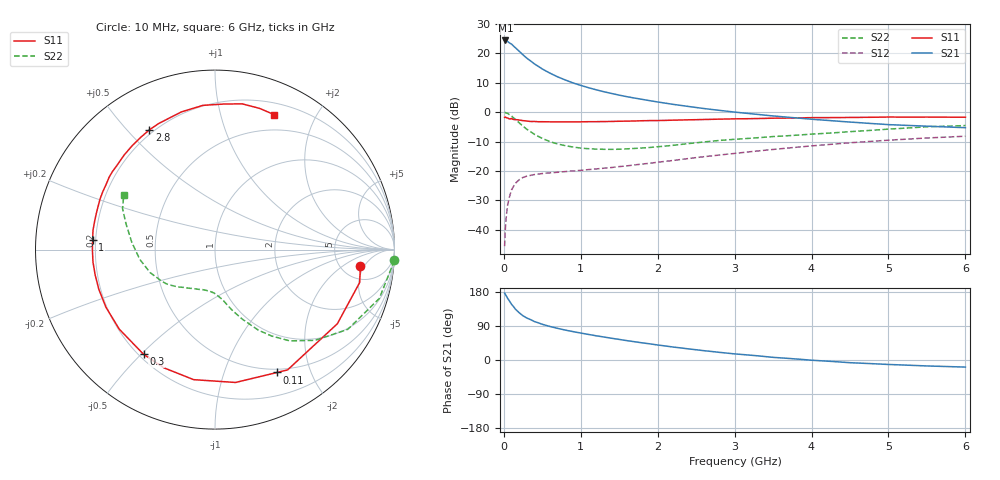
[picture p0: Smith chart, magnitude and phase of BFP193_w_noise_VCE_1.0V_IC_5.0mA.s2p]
! (c) 2017  Infineon Technologies AG, Munich
! Infineon Technologies  Discrete & RF Semiconductors
! BFP193
! VCE =  1.0 V,  IC =  5.0 mA
! Common Emitter S-Parameters:  Jan 2017
# GHz  S  MA  R  50
!  f  S11  S21  S12  S22
! GHz  MAG  ANG  MAG  ANG  MAG  ANG  MAG  ANG
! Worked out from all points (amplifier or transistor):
!   77 points, 10 MHz to 6 GHz, reference 50 ohm
!   highest |S21| = 24.4 dB at 20 MHz (marker M1)
!   |S21| within 3 dB of that: start of sweep to 171.6 MHz
!   unconditionally stable (mu >= 1): 1.349 GHz to 2.98 GHz
!   at 130 MHz: K = 0.14, MSG = 23.8 dB, |S12| = -25.1 dB
!   at 2.2 GHz: K = 1.09, MAG = 7.8 dB, |S12| = -16.5 dB
!   at 6 GHz: K = 0.94, MSG = 1.5 dB, |S12| = -8.2 dB
!   lowest NFmin = 0.92 dB at 450 MHz
!   S11 on the Smith chart (normalised r, x): 10 MHz: 7.52, -4.14; 110 MHz: 0.46, -1.53; 300 MHz: 0.22, -0.51; 1 GHz: 0.19, +0.04; 2.8 GHz: 0.18, +0.58; 6 GHz: 0.32, +1.49
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0.01  0.8152 -6.5  16.55 176.6  0.0052 87.6  1 -3.4
0.02  0.8267 -12.8  16.68 173.1  0.0105 87.8  0.9839 -6.9
0.05  0.7971 -31.2  15.98 162.4  0.0263 73.5  0.955 -16.6
0.1  0.7828 -58.9  14.47 147.0  0.0472 61.8  0.863 -31.0
0.11  0.767 -63.2  14.04 144.7  0.0499 59.3  0.8386 -33.0
0.15  0.7491 -81.2  12.55 134.3  0.0614 51.5  0.7527 -42.2
0.2  0.7343 -99.3  10.9 124.6  0.0705 44.5  0.6571 -50.7
0.25  0.7175 -113.3  9.47 116.5  0.0772 39.4  0.5752 -56.8
0.3  0.7062 -124.3  8.294 110.6  0.0813 35.6  0.5098 -61.7
0.4  0.6936 -140.3  6.613 101.2  0.0866 31.2  0.4167 -68.5
0.5  0.6872 -152.2  5.438 94.2  0.0899 29.0  0.3563 -73.7
0.6  0.684 -161.1  4.62 88.4  0.0925 28.7  0.3153 -77.6
0.7  0.6824 -168.1  3.995 83.5  0.0945 28.1  0.2865 -80.8
1  0.6841 175.5  2.86 71.1  0.1019 30.0  0.244 -90.6
1.1  0.6881 171.0  2.614 67.5  0.105 31.0  0.2384 -93.4
1.5  0.7001 156.0  1.95 54.3  0.1181 34.6  0.2334 -107.0
2.1  0.7243 136.7  1.424 37.0  0.1451 38.3  0.2644 -126.2
2.8  0.7608 118.7  1.074 20.2  0.1857 38.3  0.3294 -144.3
3.1  0.7713 112.0  0.973 14.5  0.2047 36.8  0.3515 -151.7
4.1  0.8064 93.1  0.741 -1.8  0.2727 29.5  0.4294 -175.3
5.1  0.8249 78.0  0.606 -12.5  0.3388 18.6  0.5232 162.5
6  0.821 66.2  0.544 -18.7  0.3892 8.2  0.5914 149.3
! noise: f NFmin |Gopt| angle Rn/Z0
0.45  0.92  0.28  104  0.1
0.9  1.03  0.39  150  0.07
1.9  1.97  0.61  -151  0.13
2.4  2.42  0.67  -131  0.35
